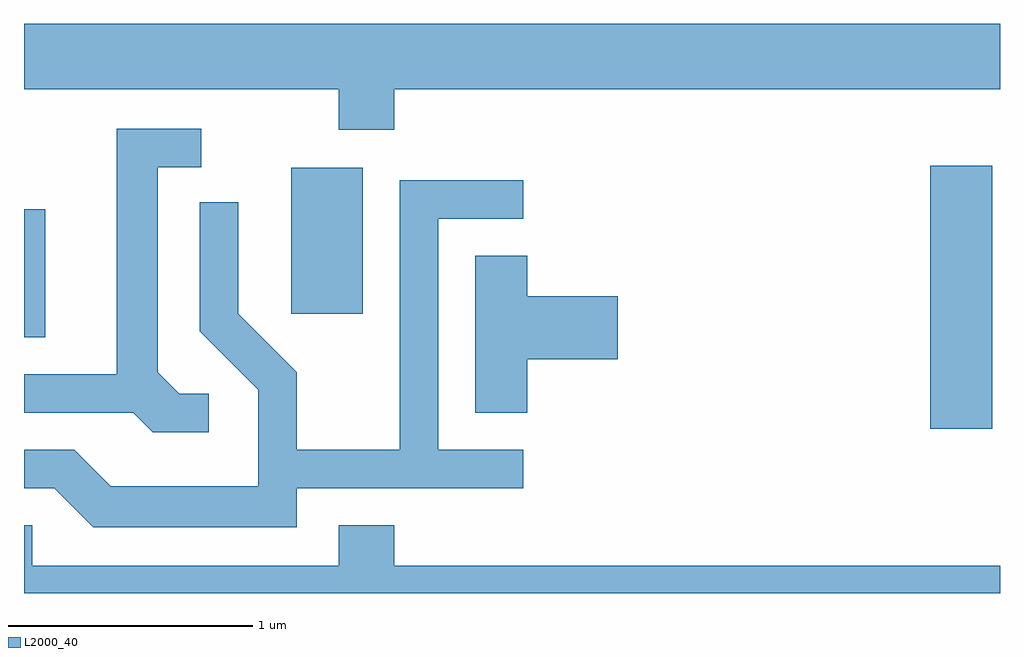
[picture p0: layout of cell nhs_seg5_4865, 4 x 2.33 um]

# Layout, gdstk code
import gdstk
lib = gdstk.Library(unit=1e-6, precision=1e-09)
def R(c, l, rs):  # rectangles x0, y0, x1, y1
    for r in rs: c.add(gdstk.rectangle(r[:2], r[2:], *l))
def P(c, l, *ps):  # polygons
    for p in ps: c.add(gdstk.Polygon(p, *l))
L2000_40 = (2000, 40)

nhs_seg5_4865 = lib.new_cell('nhs_seg5_4865')
R(nhs_seg5_4865, L2000_40, [(333.326,1448.746,333.579,1449.824), (329.611,1449.121,329.699,1449.644), (330.706,1449.216,330.999,1449.814)])
P(nhs_seg5_4865, L2000_40, [(331.129,1450.136),(333.611,1450.136),(333.611,1450.404),(329.611,1450.404),(329.611,1450.136),(330.901,1450.136),(330.901,1449.971),(331.129,1449.971)],
  [(330.368,1448.889),(330.247,1448.889),(330.159,1448.977),(330.159,1449.816),(330.338,1449.816),(330.338,1449.974),(329.991,1449.974),(329.991,1448.969),(329.611,1448.969),(329.611,1448.811),(330.059,1448.811),(330.139,1448.731),(330.368,1448.731)],
  [(330.729,1448.501),(331.658,1448.501),(331.658,1448.659),(331.309,1448.659),(331.309,1449.606),(331.658,1449.606),(331.658,1449.764),(331.151,1449.764),(331.151,1448.659),(330.729,1448.659),(330.729,1448.977),(330.489,1449.217),(330.489,1449.673),(330.331,1449.673),(330.331,1449.144),(330.571,1448.904),(330.571,1448.509),(329.967,1448.509),(329.817,1448.659),(329.611,1448.659),(329.611,1448.501),(329.734,1448.501),(329.894,1448.341),(330.729,1448.341)],
  [(331.674,1449.031),(332.044,1449.031),(332.044,1449.289),(331.674,1449.289),(331.674,1449.454),(331.461,1449.454),(331.461,1448.811),(331.674,1448.811)],
  [(333.611,1448.184),(331.129,1448.184),(331.129,1448.349),(330.901,1448.349),(330.901,1448.184),(329.644,1448.184),(329.644,1448.349),(329.611,1448.349),(329.611,1448.072),(333.611,1448.072)])

lib.write_gds('nhs_seg5_4865.gds')
